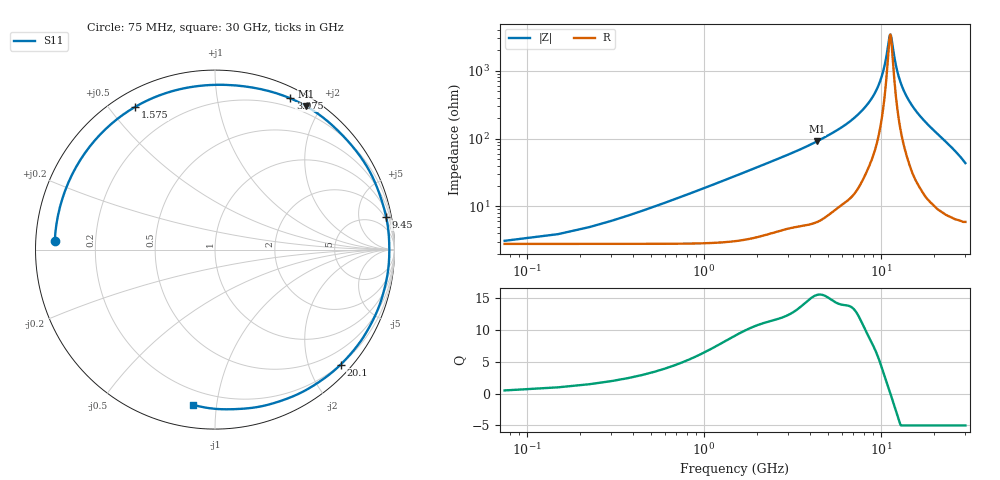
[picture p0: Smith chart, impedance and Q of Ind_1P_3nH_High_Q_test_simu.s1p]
#  Hz  S  RI  R  50
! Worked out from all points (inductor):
!   400 points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, 75 MHz to 30 GHz, reference 50 ohm
!   read as one part to ground: L = 2.88 nH near 525 MHz
!   highest Q = 15.4 at 4.35 GHz (marker M1), where L = 3.31 nH
!   self-resonance near 11.31 GHz
!   S11 on the Smith chart (normalised r, x): 75 MHz: 0.06, +0.03; 1.575 GHz: 0.06, +0.59; 3.975 GHz: 0.11, +1.61; 9.45 GHz: 2, +10; 20.1 GHz: 0.20, -2.56; 30 GHz: 0.12, -0.86
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7.5e7  -0.8928 0.0486
3.75e8  -0.8632 0.2397
7.5e8  -0.7747 0.4588
9.75e8  -0.6986 0.5731
1.2e9  -0.6098 0.6713
1.575e9  -0.4445 0.7954
2.025e9  -0.2407 0.882
2.475e9  -0.0524 0.9153
3.15e9  0.1864 0.9065
3.825e9  0.3815 0.8577
3.975e9  0.4196 0.8427
4.35e9  0.5064 0.8
5.025e9  0.6312 0.712
5.775e9  0.7321 0.6138
6.675e9  0.8225 0.5003
7.575e9  0.8851 0.3886
9.45e9  0.9537 0.1815
1.1325e10  0.9712 -0.00164
1.2975e10  0.9597 -0.1463
1.5075e10  0.9157 -0.3118
1.71e10  0.8465 -0.4554
1.8825e10  0.7685 -0.5664
2.01e10  0.7004 -0.6404
2.2575e10  0.5402 -0.763
2.4375e10  0.4012 -0.8306
2.6325e10  0.2325 -0.8778
2.8425e10  0.0338 -0.8892
3e10  -0.1237 -0.8645
